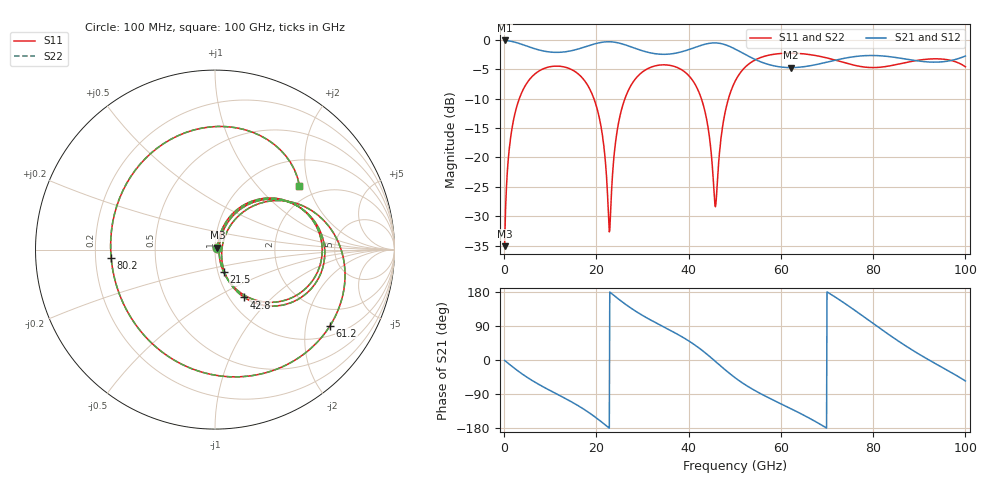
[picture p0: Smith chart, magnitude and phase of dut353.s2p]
! Touchstone file exported from HFSS 2026.1.0
!  File:  C:/ffzhzh/LocalFiles/Ansys_Project_Files/temp_train_TSV_RDL_353_1783774180_26552.aedt
!  Generated:  08:56:45 PM Jul 11, 2026
!  Design:  TSV_RDL
!  Project:  temp_train_TSV_RDL_353_1783774180_26552
! Variables:
!  h_bsmrdl = 3.6um
!  h_ox = 20um
!  h_rdl = 5um
!  h_sub = 92.86um
!  h_tmrdl = 4.38um
!  h_tsv = 92.86um
!  h_via = 3um
!  l_bsmrdl = 408.45um
!  l_sub = 2445um
!  l_tmrdl = 177.59um
!  m_sub = 200um
!  pitch = 56.99um
!  r_tsv = 8.92um
!  s_tmrdl = 10um
!  w_bsmrdl = 12.44um
!  w_sub = 500um
!  w_tmrdl = 23.99um
!  x_tsv_center1 = 189.585um
!  x_tsv_center2 = 610.475um
!  x_tsv_center3 = 812.055um
!  x_tsv_center4 = 1232.945um
!  x_tsv_center5 = 1434.525um
!  x_tsv_center6 = 1855.415um
# GHz S MA R 50.000000
! Terminal data exported
! Port[1] = TM_RDL1_1_T1
! Port[2] = TM_RDL5_1_T1
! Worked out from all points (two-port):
!   1000 points, 100 MHz to 100 GHz, reference 50 ohm
!   highest |S21| = -0.12 dB at 100 MHz (marker M1); lowest = -4.7 dB at 62.2 GHz (marker M2)
!   |S21| within 3 dB of the highest: start of sweep to 53.8 GHz; 73.94 GHz to 85.8 GHz (11.86 GHz wide, 14.9 % of centre) (the widest 2 of 3)
!   lowest |S11| = -35.1 dB at 100 MHz (marker M3), VSWR 1.04, Z = 51.4 + j1.12 ohm
!   |S11| at or under -10 dB: start of sweep to 3.287 GHz; 19.46 GHz to 26.19 GHz (6.729 GHz wide, 29.5 % of centre); 42.76 GHz to 48.64 GHz (5.881 GHz wide, 12.9 % of centre)
!   |S22| runs from -35.1 to -2.3 dB; largest |S21 - S12| = 2.6e-13
!   S11 on the Smith chart (normalised r, x): 100 MHz: 1.03, +0.02; 21.5 GHz: 1.07, -0.28; 42.8 GHz: 1.17, -0.69; 61.2 GHz: 1.33, -2.75; 80.2 GHz: 0.27, -0.04; 100 GHz: 1.61, +1.75
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0.1  0.01765 38.2  0.9863 -1.0  0.9863 -1.0  0.01765 38.2
! Gamma 0 0 0 0
! Port Impedance 50 0 50 0
1.5  0.1572 68.9  0.9707 -14.9  0.9707 -14.9  0.1572 68.9
4.3  0.3896 46.9  0.901 -40.1  0.901 -40.1  0.3896 46.9
10.6  0.5951 4.0  0.7829 -84.6  0.7829 -84.6  0.5951 3.9
16.8  0.4812 -35.9  0.8517 -126.2  0.8517 -126.2  0.4812 -36.0
21.5  0.1361 -68.9  0.9552 -167.1  0.9552 -167.1  0.136 -69.0
22.9  0.02415 14.7  0.9612 179.2  0.9612 179.2  0.02396 14.9
26  0.3012 54.7  0.9117 149.7  0.9117 149.7  0.3012 54.7
33.4  0.607 3.9  0.7559 95.0  0.7559 95.0  0.607 3.8
42.8  0.3125 -58.5  0.8992 26.6  0.8992 26.6  0.3124 -58.7
45.8  0.03819 -4.2  0.9402 -3.7  0.9402 -3.7  0.0377 -4.2
47.7  0.2201 55.5  0.9134 -23.7  0.9134 -23.7  0.22 55.5
50.1  0.4458 37.8  0.8328 -47.1  0.8328 -47.1  0.4458 37.8
55.4  0.7011 0.4  0.6545 -87.6  0.6545 -87.6  0.7012 0.3
61.2  0.7686 -33.4  0.5813 -122.8  0.5813 -122.8  0.7686 -33.5
62.2  0.7691 -39.1  0.58 -128.7  0.58 -128.7  0.7692 -39.3
66.7  0.7435 -66.7  0.6049 -157.0  0.6049 -157.0  0.7436 -66.8
73.6  0.6415 -117.7  0.6941 151.5  0.6941 151.5  0.6418 -117.6
80.2  0.5803 -175.4  0.7347 94.7  0.7347 94.7  0.5807 -175.1
83.4  0.598 156.4  0.7198 67.1  0.7198 67.1  0.5983 156.8
91.8  0.6842 91.5  0.6483 2.2  0.6483 2.2  0.6842 91.9
100  0.5892 37.0  0.7272 -55.3  0.7272 -55.3  0.5891 37.2
